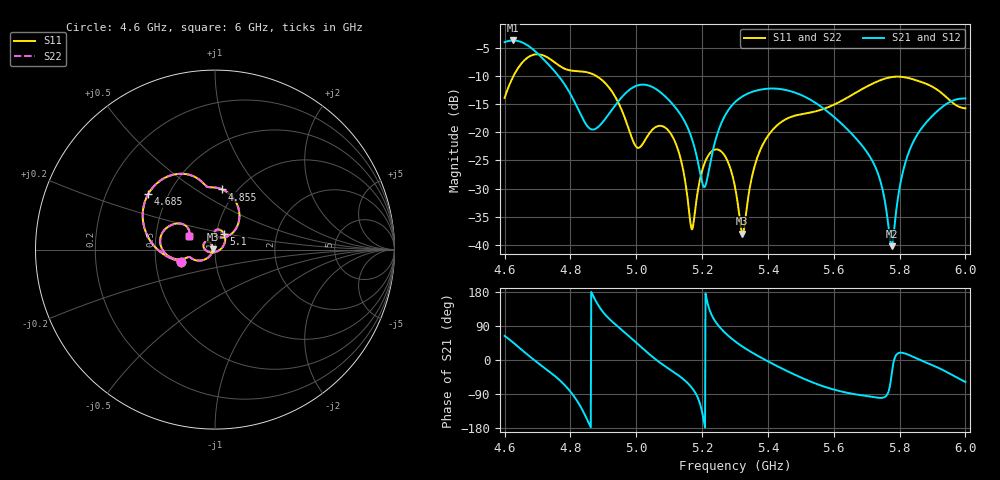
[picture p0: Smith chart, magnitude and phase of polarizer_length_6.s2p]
! TOUCHSTONE file generated by CST MICROWAVE STUDIO
! Date and time: Sun Dec  1 17:16:58 2024
! Project name: test_tuning.cst
! Parameters = {airCoaxOuterDiameter=3; chamferAngle=45; chamferWidth=24; connectorLength=10; drillingHoleDiameter=4.1; feedLength=60; flareDiameter=130; flareLength=70; gratingDistance=0; gratingGap=1.90274; outletLength=30; polarizerLength=74; probe1Diameter=1.3; probe1Distance=14; probe1Length=12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
! Header version: 2024
! Port assignment regex: !\s*Touchstone port\s*([0-9]+)\s*=\s*(CST MWS port|CST DES external port|CST DES block port)\s*(.+)\s* \(\"(.*)\"\)(\s*mode\s*([0-9]+))?.*
! Touchstone port assignment:
! Touchstone port 1 = CST MWS port 1 ("Input1")
! Touchstone port 2 = CST MWS port 2 ("Input2")
# GHz S MA R 50
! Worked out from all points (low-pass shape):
!   1001 points, 4.6 GHz to 6 GHz, reference 50 ohm
!   highest |S21| = -3.73 dB at 4.627 GHz (marker M1); lowest = -40.2 dB at 5.776 GHz (marker M2)
!   |S21| within 3 dB of the highest: start of sweep to 4.712 GHz
!   lowest |S11| = -38.0 dB at 5.322 GHz (marker M3), VSWR 1.03, Z = 48.8 + j0.18 ohm
!   |S11| at or under -10 dB: start of sweep to 4.627 GHz; 4.878 GHz to end of sweep
!   |S22| runs from -38.0 to -6.2 dB; largest |S21 - S12| = 5.6e-07
!   S11 on the Smith chart (normalised r, x): 4.6 GHz: 0.68, -0.09; 4.685 GHz: 0.39, +0.31; 4.855 GHz: 0.86, +0.65; 5.1 GHz: 1.09, +0.19; 6 GHz: 0.74, +0.11
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4.6  0.2011 -160.6  0.6289 63.6  0.6289 63.6  0.2011 -160.6
4.6266  0.3134 -179.1  0.6509 45.6  0.6509 45.6  0.3134 -179.1
4.6854  0.4839 140.2  0.5446 2.9  0.5446 2.9  0.4839 140.2
4.7596  0.401 102.9  0.326 -47.3  0.326 -47.3  0.401 102.9
4.8338  0.3459 90.0  0.1382 -127.8  0.1382 -127.8  0.3459 90.0
4.8548  0.3375 83.1  0.1102 -164.6  0.1102 -164.6  0.3375 83.1
5.0018  0.07331 67.2  0.2585 44.0  0.2585 44.0  0.07331 67.2
5.0676  0.1135 81.4  0.2328 -4.1  0.2328 -4.1  0.1135 81.4
5.0998  0.1016 60.3  0.1915 -23.7  0.1915 -23.7  0.1016 60.3
5.1362  0.05594 27.8  0.1409 -45.8  0.1409 -45.8  0.05594 27.8
5.1684  0.01378 -66.4  0.08856 -72.7  0.08856 -72.7  0.01378 -66.4
5.2062  0.05169 -175.6  0.03257 -164.8  0.03257 -164.8  0.05169 -175.6
5.2552  0.06845 143.1  0.1139 85.0  0.1139 85.0  0.06845 143.1
5.3  0.03266 122.8  0.1846 49.4  0.1846 49.4  0.03266 122.8
5.3224  0.01261 171.6  0.2074 35.5  0.2074 35.5  0.01261 171.6
5.3924  0.08543 -137.8  0.242 0.0  0.242 0.0  0.08543 -137.8
5.5338  0.1502 -164.3  0.1904 -58.4  0.1904 -58.4  0.1502 -164.3
5.7116  0.2637 -172.5  0.05953 -96.7  0.05953 -96.7  0.2637 -172.5
5.7676  0.305 174.7  0.01341 -80.1  0.01341 -80.1  0.305 174.7
5.776  0.3082 172.3  0.009739 -37.6  0.009739 -37.6  0.3082 172.3
5.8446  0.2922 154.7  0.0852 7.1  0.0852 7.1  0.2922 154.7
6  0.1626 153.1  0.1989 -57.9  0.1989 -57.9  0.1626 153.1
